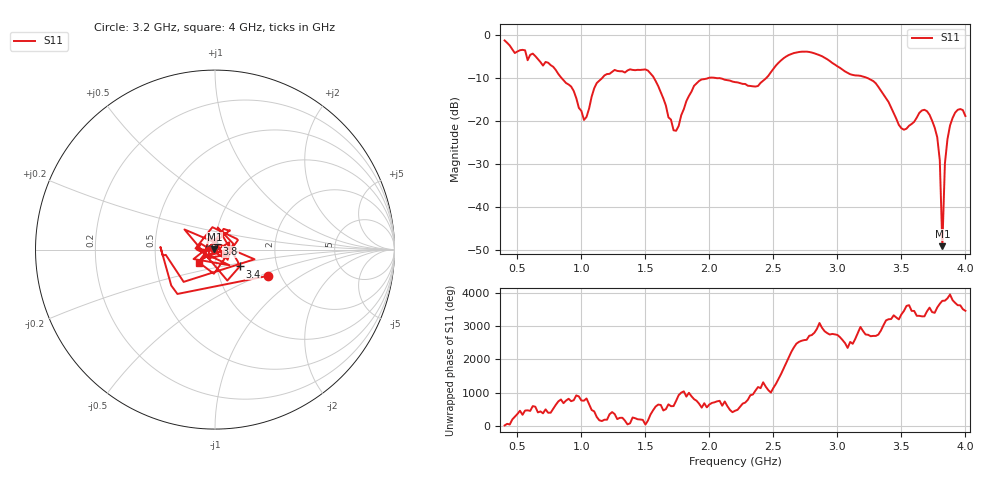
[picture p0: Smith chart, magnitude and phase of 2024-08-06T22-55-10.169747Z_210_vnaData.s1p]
!Created with skrf (http://scikit-rf.org).
# Hz S RI R 50.0
!freq ReS11 ImS11
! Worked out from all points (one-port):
!   181 points, 400 MHz to 4 GHz, reference 50 ohm
!   lowest |S11| = -49.2 dB at 3.82 GHz (marker M1), VSWR 1.01, Z = 49.7 + j0.128 ohm
!   |S11| at or under -10 dB: 1.568 GHz to 1.988 GHz (420.1 MHz wide, 23.6 % of centre); 2.083 GHz to 2.443 GHz (360 MHz wide, 15.9 % of centre); 3.238 GHz to end of sweep (the widest 3 of 4)
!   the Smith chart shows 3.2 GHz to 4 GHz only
!   S11 on the Smith chart (normalised r, x): 3.2 GHz: 1.73, -0.57; 3.4 GHz: 1.29, -0.25; 3.8 GHz: 1.02, +0.07; 4 GHz: 0.83, -0.12
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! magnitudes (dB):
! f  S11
! 400 MHz  -1.2
! 860 MHz  -10.5
! 940 MHz  -13.0
! 1.02 GHz  -19.7
! 1.12 GHz  -11.1
! 1.3 GHz  -8.4
! 1.52 GHz  -8.2
! 1.6 GHz  -11.8
! 1.72 GHz  -22.1
! 1.76 GHz  -21.1
! 1.82 GHz  -15.3
! 1.92 GHz  -10.6
! 2.2 GHz  -10.9
! 2.38 GHz  -11.8
! 2.66 GHz  -4.1
! 3.1 GHz  -9.1
! 3.2 GHz  -9.6
! 3.4 GHz  -15.6
! 3.5 GHz  -21.7
! 3.56 GHz  -21.1
! 3.7 GHz  -17.7
! 3.78 GHz  -23.8
! 3.8 GHz  -29.1
! 3.82 GHz  -49.2
! 3.84 GHz  -29.9
! 3.86 GHz  -24.2
! 3.92 GHz  -18.0
! 4 GHz  -18.8
